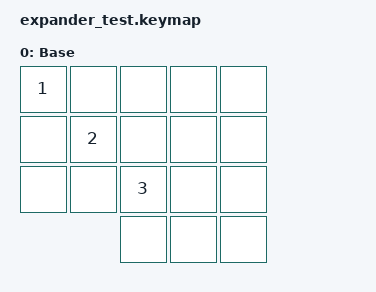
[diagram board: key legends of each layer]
/*
 *
 * SPDX-License-Identifier: MIT
 */

#include <behaviors.dtsi>
#include <dt-bindings/zmk/keys.h>

/ {
    keymap {
        compatible = "zmk,keymap";

        default_layer {
            label = " Base";
            bindings = <
            &kp N1 &none &none &none &none
            &none &kp N2 &none &none &none
            &none &none &kp N3 &none &none
                          &none &none &none
            >;
        };
    };
};


